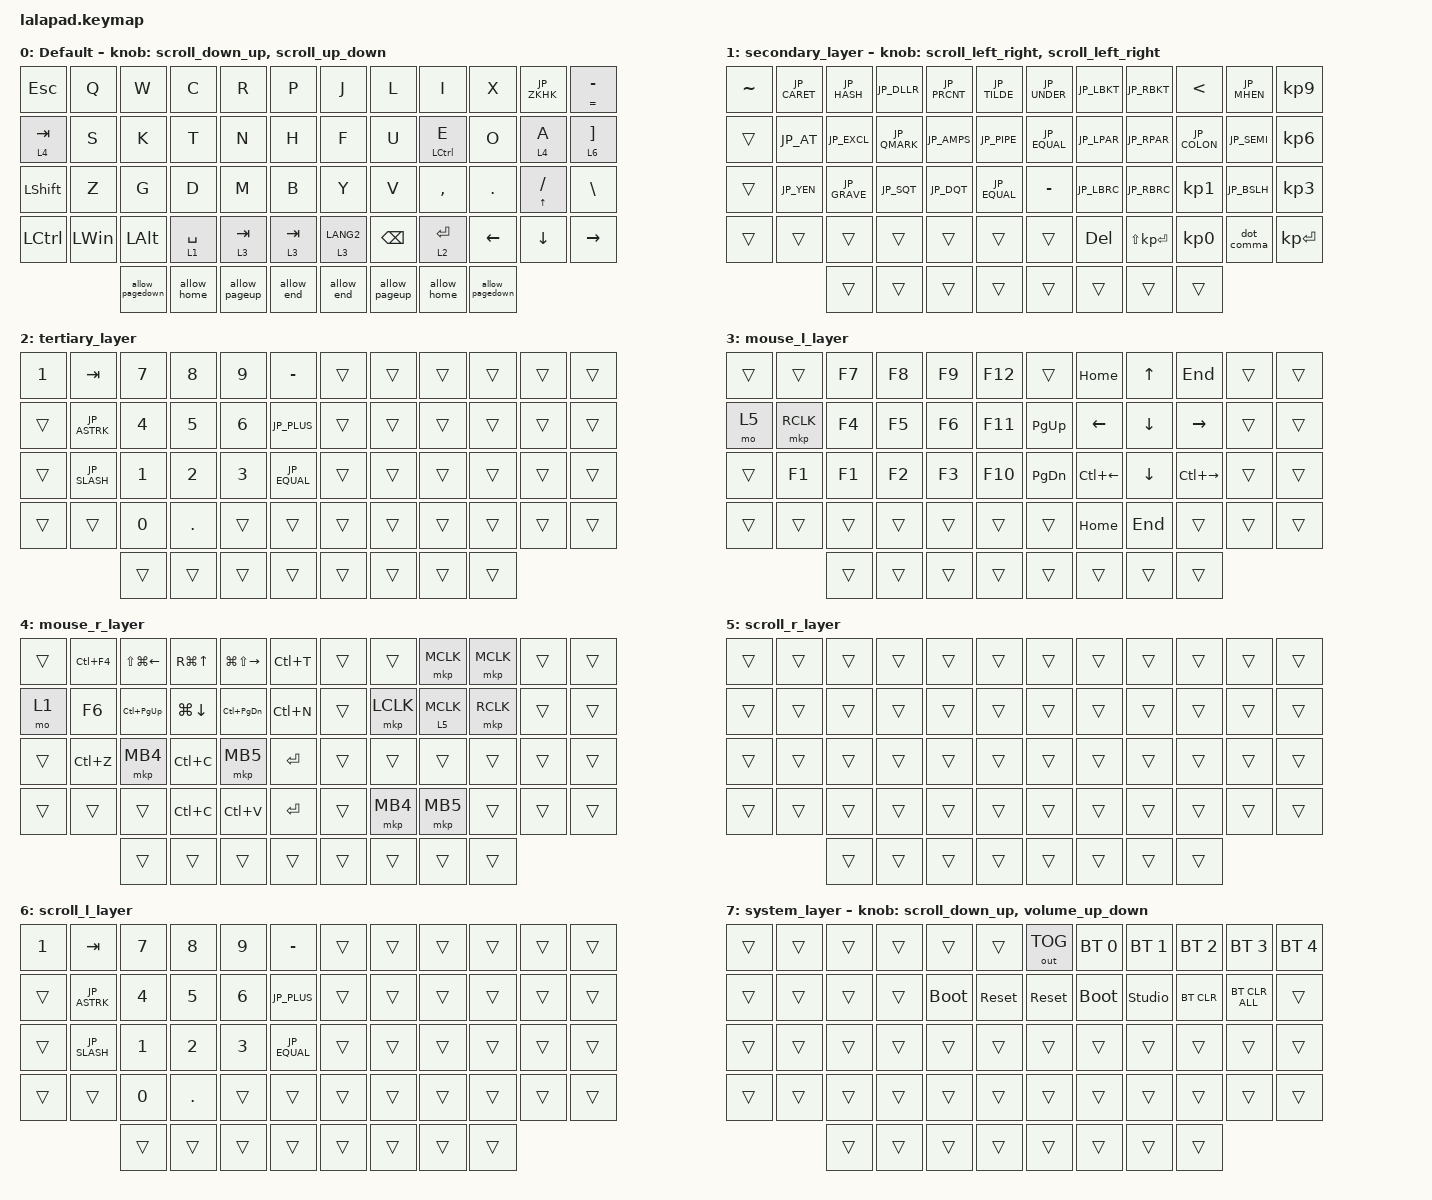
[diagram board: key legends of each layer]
#include <input/processors.dtsi>
#include <behaviors.dtsi>
#include <dt-bindings/zmk/bt.h>
#include <dt-bindings/zmk/keys.h>
#include <dt-bindings/zmk/outputs.h>
#include <dt-bindings/zmk/pointing.h>
#include "keycode_japanese.h"

#define DEFAULT_LAYER   0
#define SECONDARY_LAYER 1
#define TERTIARY_LAYER  2
#define SYSTEM_LAYER    3
#define MOUSE_R_LAYER   4
#define SCROLL_R_LAYER  5
#define MOUSE_L_LAYER   6
#define SCROLL_L_LAYER  7

// Mouse Scroll Value

#define ZMK_POINTING_DEFAULT_SCRL_VAL 100

// cirque trackpad input&layer control

&glidepoint_listener_R {
    input-processors =
        <&zip_xy_transform (INPUT_TRANSFORM_XY_SWAP | INPUT_TRANSFORM_X_INVERT | INPUT_TRANSFORM_Y_INVERT)>,
        <&zip_xy_scaler 3 2>;

    lowspeedmode {
        layers = <SECONDARY_LAYER>;
        input-processors =
            <&zip_xy_transform (INPUT_TRANSFORM_XY_SWAP | INPUT_TRANSFORM_X_INVERT | INPUT_TRANSFORM_Y_INVERT)>,
            <&zip_xy_scaler 3 5>;
    };

    scroller {
        layers = <SCROLL_R_LAYER>;
        input-processors =
            <&zip_xy_to_scroll_mapper>,
            <&zip_scroll_transform (INPUT_TRANSFORM_XY_SWAP)>,
            <&zip_scroll_scaler 1 8>;
    };
};

&glidepoint_listener_L {
    input-processors =
        <&zip_xy_transform (INPUT_TRANSFORM_XY_SWAP | INPUT_TRANSFORM_X_INVERT | INPUT_TRANSFORM_Y_INVERT)>,
        <&zip_xy_scaler 3 2>,
        <&zip_temp_layer MOUSE_L_LAYER 500>;

    lowspeedmode {
        layers = <SECONDARY_LAYER>;
        input-processors =
            <&zip_xy_transform (INPUT_TRANSFORM_XY_SWAP | INPUT_TRANSFORM_X_INVERT | INPUT_TRANSFORM_Y_INVERT)>,
            <&zip_xy_scaler 3 4>,
            <&zip_temp_layer MOUSE_L_LAYER 500>;
    };

    scroller {
        layers = <SCROLL_L_LAYER>;
        input-processors =
            <&zip_xy_to_scroll_mapper>,
            <&zip_scroll_transform (INPUT_TRANSFORM_XY_SWAP | INPUT_TRANSFORM_Y_INVERT)>,
            <&zip_scroll_scaler 1 6>;
    };
};

/ {
    behaviors {
        // Encoder to Mouse Scroll

        scroll_up_down: behavior_sensor_rotate_mouse_wheel_up_down {
            compatible = "zmk,behavior-sensor-rotate";
            #sensor-binding-cells = <0>;
            bindings = <&msc SCRL_UP>, <&msc SCRL_DOWN>;

            tap-ms = <20>;
        };

        scroll_down_up: behavior_sensor_rotate_mouse_wheel_down_up {
            compatible = "zmk,behavior-sensor-rotate";
            #sensor-binding-cells = <0>;
            bindings = <&msc SCRL_DOWN>, <&msc SCRL_UP>;

            tap-ms = <20>;
        };

        scroll_left_right: behavior_sensor_rotate_mouse_wheel_left_right {
            compatible = "zmk,behavior-sensor-rotate";
            #sensor-binding-cells = <0>;
            bindings = <&msc SCRL_LEFT>, <&msc SCRL_RIGHT>;

            tap-ms = <20>;
        };

        scroll_right_left: behavior_sensor_rotate_mouse_wheel_right_left {
            compatible = "zmk,behavior-sensor-rotate";
            #sensor-binding-cells = <0>;
            bindings = <&msc SCRL_RIGHT>, <&msc SCRL_LEFT>;

            tap-ms = <20>;
        };

        volume_up_down: behavior_sensor_rotate_volume_up_down {
            compatible = "zmk,behavior-sensor-rotate";
            #sensor-binding-cells = <0>;
            bindings = <&kp C_VOLUME_UP>, <&kp C_VOLUME_DOWN>;

            tap-ms = <20>;
        };

        dot_comma: dot_comma {
            compatible = "zmk,behavior-mod-morph";
            #binding-cells = <0>;
            bindings = <&kp KP_DOT>, <&kp COMMA>;

            mods = <(MOD_LSFT|MOD_RSFT)>;
            label = "DOT_COMMA";
        };

        pls_minus: pls_minus {
            compatible = "zmk,behavior-mod-morph";
            #binding-cells = <0>;
            bindings = <&kp PLUS>, <&kp MINUS>;

            mods = <(MOD_LSFT|MOD_RSFT)>;
            label = "PLS_MINUS";
        };

        allow_pageup: allow_pageup {
            compatible = "zmk,behavior-mod-morph";
            #binding-cells = <0>;
            bindings = <&kp UP>, <&kp PAGE_UP>;

            mods = <(MOD_LCTL|MOD_RCTL)>;
            label = "ALLOW_PAGEUP";
        };

        allow_pagedown: allow_pagedown {
            compatible = "zmk,behavior-mod-morph";
            #binding-cells = <0>;
            bindings = <&kp DOWN>, <&kp PAGE_DOWN>;

            mods = <(MOD_LCTL|MOD_RCTL)>;
            label = "ALLOW_PAGEDOWN";
        };

        allow_home: allow_home {
            compatible = "zmk,behavior-mod-morph";
            #binding-cells = <0>;
            bindings = <&kp LEFT>, <&kp HOME>;

            mods = <(MOD_LCTL|MOD_RCTL)>;
            label = "ALLOW_HOME";
        };

        allow_end: allow_end {
            compatible = "zmk,behavior-mod-morph";
            #binding-cells = <0>;
            bindings = <&kp RIGHT>, <&kp END>;

            mods = <(MOD_LCTL|MOD_RCTL)>;
            label = "ALLOW_END";
        };

        mt2: mod_tap2 {
            compatible = "zmk,behavior-hold-tap";
            #binding-cells = <2>;
            flavor = "tap-preferred";
            tapping-term-ms = <200>;
            quick-tap-ms = <200>;
            require-prior-idle-ms = <125>;
            bindings = <&kp>, <&kp>;
        };

        mouse_mid_sc: mouse_mid_sc {
            compatible = "zmk,behavior-hold-tap";
            label = "MOUSE_MID_SC";
            bindings = <&mo>, <&mkp>;

            #binding-cells = <2>;
            tapping-term-ms = <100>;
        };
    };

    keymap {
        compatible = "zmk,keymap";

        DEFAULT_LAYER {
            display-name = "Default";
            sensor-bindings = <&scroll_down_up>, <&scroll_up_down>;

            bindings = <
&kp ESC    &kp Q         &kp W         &kp C            &kp R        &kp P          &kp J          &kp L          &kp I            &kp X       &kp JP_ZKHK  &mt EQUAL MINUS
&lt 4 TAB    &kp S         &kp K         &kp T            &kp N        &kp H          &kp F          &kp U        &mt2 LCTRL E            &kp O       &lt 4 A        &lt 6 RBKT
&kp LSHFT  &kp Z         &kp G         &kp D            &kp M        &kp B          &kp Y          &kp V          &kp COMMA        &kp PERIOD  &mt2 UP SLASH  &kp BSLH
&kp LCTRL  &kp LEFT_WIN  &kp LEFT_ALT  &lt 1 SPACE      &lt 3 TAB    &lt 3 TAB      &lt 3 LANG2    &kp BACKSPACE  &lt 2 RET        &kp LEFT    &kp DOWN       &kp RIGHT
                         &allow_pagedown    &allow_home &allow_pageup  &allow_end  &allow_end  &allow_pageup    &allow_home  &allow_pagedown
            >;
        };

        SECONDARY_LAYER {
            display-name = "secondary_layer";
            sensor-bindings = <&scroll_left_right>, <&scroll_left_right>;

            bindings = <
&kp TILDE  &kp JP_CARET      &kp JP_HASH         &kp JP_DLLR    &kp JP_PRCNT        &kp JP_TILDE  &kp JP_UNDER  &kp JP_LBKT      &kp JP_RBKT      &kp LESS_THAN    &kp JP_MHEN       &kp KP_NUMBER_9
&trans     &kp JP_AT         &kp JP_EXCL  &kp JP_QMARK  &kp JP_AMPS      &kp JP_PIPE   &kp JP_EQUAL       &kp JP_LPAR  &kp JP_RPAR  &kp JP_COLON        &kp JP_SEMI  &kp KP_NUMBER_6
&trans     &kp JP_YEN  &kp JP_GRAVE        &kp JP_SQT       &kp JP_DQT  &kp JP_EQUAL  &kp MINUS       &kp JP_LBRC        &kp JP_RBRC        &kp KP_NUMBER_1  &kp JP_BSLH  &kp KP_NUMBER_3
&trans     &trans         &trans           &trans        &trans             &trans     &trans          &kp DELETE            &kp LS(KP_ENTER)            &kp KP_NUMBER_0  &dot_comma     &kp KP_ENTER
                          &trans           &trans        &trans             &trans     &trans          &trans                &trans                 &trans
            >;
        };

        TERTIARY_LAYER {
            display-name = "tertiary_layer";
            bindings = <
                        &kp N1  &kp TAB       &kp N7  &kp N8   &kp N9  &kp MINUS  &trans  &trans  &trans  &trans  &trans  &trans
                        &trans  &kp JP_ASTRK  &kp N4  &kp N5   &kp N6  &kp JP_PLUS   &trans  &trans  &trans  &trans  &trans  &trans
                        &trans  &kp JP_SLASH      &kp N1  &kp N2   &kp N3  &kp JP_EQUAL  &trans  &trans  &trans  &trans  &trans  &trans
                        &trans  &trans        &kp N0  &kp DOT  &trans  &trans     &trans  &trans  &trans  &trans  &trans  &trans
                                              &trans  &trans   &trans  &trans     &trans  &trans  &trans  &trans
                        >;
        };

        Function {
            display-name = "mouse_l_layer";
            bindings = <
&trans  &trans     &kp F7  &kp F8  &kp F9  &kp F12  &trans         &kp HOME        &kp UP_ARROW    &kp END              &trans  &trans
&mo 5   &mkp RCLK  &kp F4  &kp F5  &kp F6  &kp F11  &kp PAGE_UP    &kp LEFT_ARROW  &kp DOWN        &kp RIGHT            &trans  &trans
&trans  &kp F1     &kp F1  &kp F2  &kp F3  &kp F10  &kp PAGE_DOWN  &kp LC(LEFT)    &kp DOWN_ARROW  &kp LC(RIGHT_ARROW)  &trans  &trans
&trans  &trans     &trans  &trans  &trans  &trans   &trans         &kp HOME        &kp END         &trans               &trans  &trans
                   &trans  &trans  &trans  &trans   &trans         &trans          &trans          &trans
            >;
        };
        MOUSE_R_LAYER {
                    display-name = "mouse_r_layer";
                    bindings = <
                    &trans  &kp LC(F4)  &kp LS(LG(LEFT))  &kp RG(UP_ARROW)    &kp LG(LS(RIGHT))  &kp LC(T)  &trans  &trans     &mkp MCLK             &mkp MCLK  &trans     &trans
                    &mo 1  &kp F6      &kp LC(PAGE_UP)   &kp LG(DOWN_ARROW)  &kp LC(PAGE_DOWN)  &kp LC(N)  &trans  &mkp LCLK  &mouse_mid_sc 5 MCLK  &mkp RCLK  &trans  &trans
                    &trans  &kp LC(Z)   &mkp MB4         &kp LC(C)           &mkp MB5          &kp RET  &trans  &trans     &trans                &trans     &trans     &trans
                    &trans  &trans      &trans            &kp LC(C)           &kp LC(V)          &kp RET     &trans  &mkp MB4   &mkp MB5              &trans     &trans     &trans
                                        &trans            &trans              &trans             &trans     &trans  &trans     &trans                &trans
                                >;
        };
        SCROLL_R_LAYER {
            display-name = "scroll_r_layer";
            bindings = <
&trans  &trans  &trans  &trans  &trans  &trans  &trans  &trans  &trans  &trans  &trans  &trans
&trans  &trans  &trans  &trans  &trans  &trans  &trans  &trans  &trans  &trans  &trans  &trans
&trans  &trans  &trans  &trans  &trans  &trans  &trans  &trans  &trans  &trans  &trans  &trans
&trans  &trans  &trans  &trans  &trans  &trans  &trans  &trans  &trans  &trans  &trans  &trans
                &trans  &trans  &trans  &trans  &trans  &trans  &trans  &trans
            >;
        };

        SCROLL_L_LAYER {
            display-name = "scroll_l_layer";
            bindings = <
            &kp N1  &kp TAB       &kp N7  &kp N8   &kp N9  &kp MINUS  &trans  &trans  &trans  &trans  &trans  &trans
            &trans  &kp JP_ASTRK  &kp N4  &kp N5   &kp N6  &kp JP_PLUS   &trans  &trans  &trans  &trans  &trans  &trans
            &trans  &kp JP_SLASH      &kp N1  &kp N2   &kp N3  &kp JP_EQUAL  &trans  &trans  &trans  &trans  &trans  &trans
            &trans  &trans        &kp N0  &kp DOT  &trans  &trans     &trans  &trans  &trans  &trans  &trans  &trans
                                  &trans  &trans   &trans  &trans     &trans  &trans  &trans  &trans
            >;
        };


        SYSTEM_LAYER {
            display-name = "system_layer";
            sensor-bindings = <&scroll_down_up>, <&volume_up_down>;

            bindings = <
&trans  &trans  &trans  &trans  &trans       &trans      &out OUT_TOG  &bt BT_SEL 0  &bt BT_SEL 1    &bt BT_SEL 2  &bt BT_SEL 3    &bt BT_SEL 4
&trans  &trans  &trans  &trans  &bootloader  &sys_reset  &sys_reset    &bootloader   &studio_unlock  &bt BT_CLR    &bt BT_CLR_ALL  &trans
&trans  &trans  &trans  &trans  &trans       &trans      &trans        &trans        &trans          &trans        &trans          &trans
&trans  &trans  &trans  &trans  &trans       &trans      &trans        &trans        &trans          &trans        &trans          &trans
                &trans  &trans  &trans       &trans      &trans        &trans        &trans          &trans
            >;
        };
    };
};
